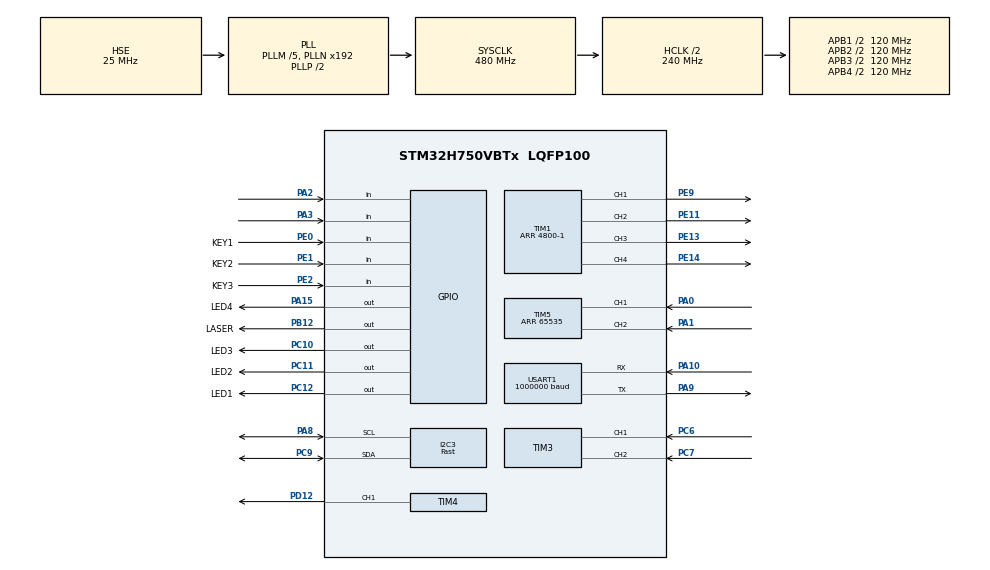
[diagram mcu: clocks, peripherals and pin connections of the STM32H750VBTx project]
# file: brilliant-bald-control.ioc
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Dma.Request0=TIM4_CH1
Dma.TIM4_CH1.0.Direction=DMA_MEMORY_TO_PERIPH
Dma.TIM4_CH1.0.EventEnable=DISABLE
Dma.TIM4_CH1.0.FIFOMode=DMA_FIFOMODE_DISABLE
Dma.TIM4_CH1.0.Instance=DMA1_Stream0
Dma.TIM4_CH1.0.MemDataAlignment=DMA_MDATAALIGN_HALFWORD
Dma.TIM4_CH1.0.MemInc=DMA_MINC_ENABLE
Dma.TIM4_CH1.0.Mode=DMA_NORMAL
Dma.TIM4_CH1.0.PeriphDataAlignment=DMA_PDATAALIGN_HALFWORD
Dma.TIM4_CH1.0.PeriphInc=DMA_PINC_DISABLE
Dma.TIM4_CH1.0.Polarity=HAL_DMAMUX_REQ_GEN_RISING
Dma.TIM4_CH1.0.Priority=DMA_PRIORITY_LOW
Dma.TIM4_CH1.0.RequestNumber=1
Dma.TIM4_CH1.0.SignalID=NONE
Dma.TIM4_CH1.0.SyncEnable=DISABLE
Dma.TIM4_CH1.0.SyncPolarity=HAL_DMAMUX_SYNC_NO_EVENT
Dma.TIM4_CH1.0.SyncRequestNumber=1
Dma.TIM4_CH1.0.SyncSignalID=NONE
I2C3.I2C_Speed_Mode=I2C_Fast
I2C3.Timing=0x00B03FDB
Mcu.Family=STM32H7
Mcu.Name=STM32H750VBTx
Mcu.Package=LQFP100
NVIC.DMA1_Stream0_IRQn=true\:4\:0\:true\:false\:true\:false\:true\:true
NVIC.PriorityGroup=NVIC_PRIORITYGROUP_4
NVIC.TIM6_DAC_IRQn=true\:3\:0\:true\:false\:true\:true\:true\:true
NVIC.TIM7_IRQn=true\:2\:0\:true\:false\:true\:true\:true\:true
NVIC.TIM8_UP_TIM13_IRQn=true\:3\:0\:true\:false\:true\:true\:true\:true
NVIC.USART1_IRQn=true\:1\:0\:true\:false\:true\:true\:true\:true
PA0.Signal=S_TIM5_CH1
PA1.Signal=S_TIM5_CH2
PA10.Mode=Asynchronous
PA10.Signal=USART1_RX
PA11.Signal=USB_OTG_FS_DM
PA12.Signal=USB_OTG_FS_DP
PA13\ (JTMS/SWDIO).Signal=DEBUG_JTMS-SWDIO
PA14\ (JTCK/SWCLK).Signal=DEBUG_JTCK-SWCLK
PA15\ (JTDI).GPIO_Label=LED4
PA15\ (JTDI).Signal=GPIO_Output
PA2.Signal=GPIO_Input
PA3.Signal=GPIO_Input
PA8.Mode=I2C
PA8.Signal=I2C3_SCL
PA9.Mode=Asynchronous
PA9.Signal=USART1_TX
PB12.GPIO_Label=LASER
PB12.PinState=GPIO_PIN_SET
PB12.Signal=GPIO_Output
PC10.GPIO_Label=LED3
PC10.Signal=GPIO_Output
PC11.GPIO_Label=LED2
PC11.Signal=GPIO_Output
PC12.GPIO_Label=LED1
PC12.Signal=GPIO_Output
PC6.Signal=S_TIM3_CH1
PC7.Signal=S_TIM3_CH2
PC9.Mode=I2C
PC9.Signal=I2C3_SDA
PD12.Signal=S_TIM4_CH1
PE0.GPIO_Label=KEY1
PE0.Signal=GPIO_Input
PE1.GPIO_Label=KEY2
PE1.Signal=GPIO_Input
PE11.Signal=S_TIM1_CH2
PE13.Signal=S_TIM1_CH3
PE14.Signal=S_TIM1_CH4
PE2.GPIO_Label=KEY3
PE2.Signal=GPIO_Input
PE9.Signal=S_TIM1_CH1
PH0-OSC_IN\ (PH0).Mode=HSE-External-Oscillator
PH0-OSC_IN\ (PH0).Signal=RCC_OSC_IN
PH1-OSC_OUT\ (PH1).Mode=HSE-External-Oscillator
PH1-OSC_OUT\ (PH1).Signal=RCC_OSC_OUT
ProjectManager.HeapSize=0x200
ProjectManager.StackSize=0x400
ProjectManager.TargetToolchain=STM32CubeIDE
RCC.ADCFreq_Value=1280000
RCC.APB1Freq_Value=120000000
RCC.APB2Freq_Value=120000000
RCC.APB3Freq_Value=120000000
RCC.APB4Freq_Value=120000000
RCC.CKPERSourceSelection=RCC_CLKPSOURCE_HSE
RCC.CortexFreq_Value=480000000
RCC.D1PPRE=RCC_APB3_DIV2
RCC.D2PPRE1=RCC_APB1_DIV2
RCC.D2PPRE2=RCC_APB2_DIV2
RCC.D3PPRE=RCC_APB4_DIV2
RCC.DIVM1=5
RCC.DIVM2=25
RCC.DIVM3=25
RCC.DIVN1=192
RCC.DIVN2=160
RCC.DIVN3=160
RCC.DIVP2=125
RCC.DIVQ1=20
RCC.HCLKFreq_Value=240000000
RCC.HPRE=RCC_HCLK_DIV2
RCC.LPTIM1CLockSelection=RCC_LPTIM1CLKSOURCE_PLL2
RCC.PLLSourceVirtual=RCC_PLLSOURCE_HSE
RCC.PWR_Regulator_Voltage_Scale=PWR_REGULATOR_VOLTAGE_SCALE0
RCC.SYSCLKFreq_VALUE=480000000
RCC.SYSCLKSource=RCC_SYSCLKSOURCE_PLLCLK
RCC.USBFreq_Value=48000000
SH.S_TIM1_CH1.0=TIM1_CH1,PWM Generation1 CH1
SH.S_TIM1_CH2.0=TIM1_CH2,PWM Generation2 CH2
SH.S_TIM1_CH3.0=TIM1_CH3,PWM Generation3 CH3
SH.S_TIM1_CH4.0=TIM1_CH4,PWM Generation4 CH4
SH.S_TIM3_CH1.0=TIM3_CH1,Encoder_Interface
SH.S_TIM3_CH2.0=TIM3_CH2,Encoder_Interface
SH.S_TIM4_CH1.0=TIM4_CH1,PWM Generation1 CH1
SH.S_TIM5_CH1.0=TIM5_CH1,Encoder_Interface
SH.S_TIM5_CH2.0=TIM5_CH2,Encoder_Interface
TIM1.AutoReloadPreload=TIM_AUTORELOAD_PRELOAD_ENABLE
TIM1.Channel-PWM\ Generation1\ CH1=TIM_CHANNEL_1
TIM1.Channel-PWM\ Generation2\ CH2=TIM_CHANNEL_2
TIM1.Channel-PWM\ Generation3\ CH3=TIM_CHANNEL_3
TIM1.Channel-PWM\ Generation4\ CH4=TIM_CHANNEL_4
TIM1.OCMode_PWM-PWM\ Generation1\ CH1=TIM_OCMODE_PWM2
TIM1.OCMode_PWM-PWM\ Generation2\ CH2=TIM_OCMODE_PWM2
TIM1.OCMode_PWM-PWM\ Generation3\ CH3=TIM_OCMODE_PWM2
TIM1.OCMode_PWM-PWM\ Generation4\ CH4=TIM_OCMODE_PWM2
TIM1.Period=4800-1
TIM1.Pulse-PWM\ Generation1\ CH1=0
TIM1.Pulse-PWM\ Generation2\ CH2=0
TIM1.Pulse-PWM\ Generation3\ CH3=0
TIM1.Pulse-PWM\ Generation4\ CH4=0
TIM13.Period=5000-1
TIM13.Prescaler=240-1
TIM3.EncoderMode=TIM_ENCODERMODE_TI12
TIM3.IC1Filter=4
TIM3.IC2Filter=4
TIM3.IC2Polarity=TIM_ICPOLARITY_FALLING
TIM4.AutoReloadPreload=TIM_AUTORELOAD_PRELOAD_ENABLE
TIM4.Channel-PWM\ Generation1\ CH1=TIM_CHANNEL_1
TIM4.Period=150-1
TIM4.Prescaler=2-1
TIM5.EncoderMode=TIM_ENCODERMODE_TI12
TIM5.IC1Filter=4
TIM5.IC2Filter=4
TIM5.Period=65535
TIM6.Period=10000-1
TIM6.Prescaler=24000-1
TIM6.TIM_MasterOutputTrigger=TIM_TRGO_UPDATE
TIM7.AutoReloadPreload=TIM_AUTORELOAD_PRELOAD_DISABLE
TIM7.Period=48000-1
USART1.BaudRate=1000000
USART1.FIFOMode=FIFOMODE_DISABLE
USART1.VirtualMode-Asynchronous=VM_ASYNC
VP_TIM13_VS_ClockSourceINT.Mode=Enable_Timer
VP_TIM6_VS_ClockSourceINT.Mode=Enable_Timer
VP_TIM7_VS_ClockSourceINT.Mode=Enable_Timer
board=custom

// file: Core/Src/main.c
/* USER CODE BEGIN Header */
/**
 ******************************************************************************
 * @file           : main.c
 * @brief          : Main program body
 ******************************************************************************
 * @attention
 *
 * Copyright (c) 2024 Charles Surianto.
 * All rights reserved.
 *
 ******************************************************************************
 */
/* USER CODE END Header */
#include "main.h"

/* USER CODE BEGIN Includes */
#include <stdlib.h>
#include <stdint.h>
#include <string.h>
#include <stdio.h>
#include <math.h>
/* USER CODE END Includes */

I2C_HandleTypeDef hi2c3;

TIM_HandleTypeDef htim1;
TIM_HandleTypeDef htim3;
TIM_HandleTypeDef htim4;
TIM_HandleTypeDef htim5;
TIM_HandleTypeDef htim6;
TIM_HandleTypeDef htim7;
TIM_HandleTypeDef htim13;
DMA_HandleTypeDef hdma_tim4_ch1;

UART_HandleTypeDef huart1;

/* USER CODE BEGIN PV */
uint16_t WsBuffer[48];
UARTStruct Uart1;
FSMStateTypeDef FSMState = SERIAL;
bool FSMIsParsing = FALSE;
bool CommandReady = FALSE;
bool TimedOut = FALSE;
bool ControlOn = FALSE;
LaserPosStruct LaserPos = {0};
double Kp;
double Kd;
double ErrorThreshold;
uint16_t HomingSpeed;
uint16_t MoveTimeoutPeriod;
uint16_t LogTime;
MotorStruct MotorX = {0};
MotorStruct MotorY = {0};

const uint8_t COS256[256] = {
    255, 255, 255, 255, 254, 254, 254, 253, 253, 252, 251, 250, 249, 249, 248, 246,
    245, 244, 243, 241, 240, 238, 237, 235, 233, 232, 230, 228, 226, 224, 222, 220,
    218, 215, 213, 211, 208, 206, 203, 201, 198, 195, 193, 190, 187, 185, 182, 179,
    176, 173, 170, 167, 164, 161, 158, 155, 152, 149, 146, 143, 140, 136, 133, 130,
    127, 124, 121, 118, 114, 111, 108, 105, 102, 99, 96, 93, 90, 87, 84, 81,
    78, 75, 72, 69, 67, 64, 61, 59, 56, 53, 51, 48, 46, 43, 41, 39,
    36, 34, 32, 30, 28, 26, 24, 22, 21, 19, 17, 16, 14, 13, 11, 10,
    9, 8, 6, 5, 5, 4, 3, 2, 1, 1, 0, 0, 0, 0, 0, 0,
    0, 0, 0, 0, 0, 0, 0, 1, 1, 2, 3, 4, 5, 5, 6, 8,
    9, 10, 11, 13, 14, 16, 17, 19, 21, 22, 24, 26, 28, 30, 32, 34,
    36, 39, 41, 43, 46, 48, 51, 53, 56, 59, 61, 64, 67, 69, 72, 75,
    78, 81, 84, 87, 90, 93, 96, 99, 102, 105, 108, 111, 114, 118, 121, 124,
    127, 130, 133, 136, 140, 143, 146, 149, 152, 155, 158, 161, 164, 167, 170, 173,
    176, 179, 182, 185, 187, 190, 193, 195, 198, 201, 203, 206, 208, 211, 213, 215,
    218, 220, 222, 224, 226, 228, 230, 232, 233, 235, 237, 238, 240, 241, 243, 244,
    245, 246, 248, 249, 249, 250, 251, 252, 253, 253, 254, 254, 254, 255, 255, 255};
/* USER CODE END PV */

void SystemClock_Config(void);
static void MX_GPIO_Init(void);
static void MX_DMA_Init(void);
static void MX_TIM1_Init(void);
static void MX_TIM3_Init(void);
static void MX_TIM4_Init(void);
static void MX_TIM5_Init(void);
static void MX_USART1_UART_Init(void);
static void MX_I2C3_Init(void);
static void MX_TIM7_Init(void);
static void MX_TIM6_Init(void);
static void MX_TIM13_Init(void);
/* USER CODE BEGIN PFP */
void ParseCommand(void);
bool StringStartsWith(const char *str, const char *prefix);
void WsSet(uint8_t index, uint8_t r, uint8_t g, uint8_t b);
void WsSetAll(uint8_t r, uint8_t g, uint8_t b);
void EEPROMRead(uint8_t regAddr, uint8_t *pData, uint8_t size);
void EEPROMWrite(uint8_t regAddr, uint8_t *pData, uint8_t size);
void ParamsRead(void);
void ParamsWrite(void);
void MotorSetSpeed(AxisTypeDef axis, int32_t speed);
bool Home(void);
void Step(void);
void LaserTurn(LaserStateTypeDef state);
void SetPos(double x, double y);
void LineTo(double x, double y, uint16_t steps);
void StartTimeout(uint16_t period);
/* USER CODE END PFP */

int main(void)
{

    /* MCU Configuration--------------------------------------------------------*/

    /* Reset of all peripherals, Initializes the Flash interface and the Systick. */
    HAL_Init();

    /* Configure the system clock */
    SystemClock_Config();

    /* Initialize all configured peripherals */
    MX_GPIO_Init();
    MX_DMA_Init();
    MX_TIM1_Init();
    MX_TIM3_Init();
    MX_TIM4_Init();
    MX_TIM5_Init();
    MX_USART1_UART_Init();
    MX_I2C3_Init();
    MX_TIM7_Init();
    MX_TIM6_Init();
    MX_TIM13_Init();
    /* USER CODE BEGIN 2 */
    HAL_TIM_Encoder_Start(&HTIM_ENCX, TIM_CHANNEL_ALL);
    HAL_TIM_Encoder_Start(&HTIM_ENCY, TIM_CHANNEL_ALL);

    HAL_TIM_Base_Start_IT(&HTIM_CTRL);

    HAL_TIM_PWM_Start(&HTIM_MOT, TIM_CHANNEL_MOT_XA);
    HAL_TIM_PWM_Start(&HTIM_MOT, TIM_CHANNEL_MOT_XB);
    HAL_TIM_PWM_Start(&HTIM_MOT, TIM_CHANNEL_MOT_YA);
    HAL_TIM_PWM_Start(&HTIM_MOT, TIM_CHANNEL_MOT_YB);

    HAL_UART_Receive_IT(&huart1, &Uart1.rxByte, 1);

    ParamsRead();

    {
        uint8_t configByte;
        EEPROMRead(CONFIG_BYTE_ADDR, &configByte, 1);

        if (configByte || HAL_GPIO_ReadPin(KEY1_GPIO_Port, KEY1_Pin) == GPIO_PIN_SET)
        {
            FSMState = TEST;
        }
        else
        {
            Home();
        }
    }

    /* USER CODE END 2 */

    /* Infinite loop */
    /* USER CODE BEGIN WHILE */
    while (1)
    {
        if (FSMState == TEST)
        {
            SerialPrint("test mode\n");

            do
            {
                ParseCommand();
            } while (FSMState == TEST);
        }

        if (FSMState == SERIAL)
        {
            SerialPrint("serial mode\n");

            do
            {
                ParseCommand();
            } while (FSMState == SERIAL);
        }

        if (FSMState == MEMORY_SQUARE)
        {
            SerialPrint("square mode\n");

            do
            {
                LineTo(-1.0, 1.0, 1);
                LineTo(1.0, 1.0, 1);
                LineTo(1.0, -1.0, 1);
                LineTo(-1.0, -1.0, 1);

                ParseCommand();
            } while (FSMState == MEMORY_SQUARE);
        }

        if (FSMState == MEMORY_TRIANGLE)
        {
            SerialPrint("triangle mode\n");

            do
            {
                LineTo(0.0, 1.0, 3);
                LineTo(1, -1, 3);
                LineTo(-1, -1, 3);

                ParseCommand();
            } while (FSMState == MEMORY_TRIANGLE);
        }

        if (FSMState == MEMORY_CIRCLE)
        {
            SerialPrint("circle mode\n");

            do
            {
                int i;
                for (i = 0; i < 90; i++)
                {
                    LineTo(cos((double)i / 180.0 * M_PI) - 0.12, sin((double)i / 180.0 * M_PI) + 0.12, 1);
                }
                for (i = 90; i < 180; i++)
                {
                    LineTo(cos((double)i / 180.0 * M_PI) - 0.12, sin((double)i / 180.0 * M_PI) - 0.12, 1);
                }
                for (i = 180; i < 270; i++)
                {
                    LineTo(cos((double)i / 180.0 * M_PI) + 0.12, sin((double)i / 180.0 * M_PI) - 0.12, 1);
                }
                for (i = 270; i < 360; i++)
                {
                    LineTo(cos((double)i / 180.0 * M_PI) + 0.12, sin((double)i / 180.0 * M_PI) + 0.12, 1);
                }

                ParseCommand();
            } while (FSMState == MEMORY_CIRCLE);
        }

        if (FSMState == MEMORY_STAR)
        {
            SerialPrint("star mode\n");

            do
            {
                LineTo(0.0, 1.0, 3);
                LineTo(1.0, -1.0, 3);
                LineTo(-1.0, 0.3, 3);
                LineTo(1.0, 0.3, 3);
                LineTo(-1.0, -1.0, 3);

                ParseCommand();
            } while (FSMState == MEMORY_STAR);
        }

        if (FSMState == MEMORY_PP)
        {
            SerialPrint("pp mode\n");

            do
            {
                LineTo(1.0, 0.5, 1);
                LineTo(1.0, -0.5, 1);
                LineTo(0.0, -0.5, 1);
                LineTo(0.0, -1.0, 1);
                LineTo(-0.5, -1.0, 1);
                LineTo(-0.5, 0.0, 1);
                LineTo(-0.5, -1.0, 1);
                LineTo(-1.0, -1.0, 1);
                LineTo(-1.0, 0.5, 1);

                ParseCommand();
            } while (FSMState == MEMORY_PP);
        }

        if (FSMState == RB)
        {
            do
            {
                for (int j = 0; j < 2; j++)
                {
                    WsSetAll(0, 0, 0);
                    for (int i = 0; i < 2; i++)
                    {
                        WsSet(j, 0, 0, 0);
                        WsShow();
                        HAL_Delay(50);
                        WsSet(j, 30, 0, 0);
                        WsShow();
                        HAL_Delay(50);
                    }
                    HAL_Delay(100);
                    WsSetAll(0, 0, 0);
                    for (int i = 0; i < 2; i++)
                    {
                        WsSet(j, 0, 0, 0);
                        WsShow();
                        HAL_Delay(50);
                        WsSet(j, 0, 0, 30);
                        WsShow();
                        HAL_Delay(50);
                    }
                    HAL_Delay(100);
                }
                ParseCommand();
            } while (FSMState == RB);

            WsSetAll(0, 0, 0);
            WsShow();
        }

        if (FSMState == RGB)
        {
            do
            {
                for (int i = 0; i < 256; i++)
                {
                    WsSetAll(COS256[(uint8_t)i] >> 4, COS256[(uint8_t)(i - 256 / 3)] >> 4, COS256[(uint8_t)(i - 256 * 2 / 3)] >> 4);
                    WsShow();
                    HAL_Delay(10);
                }
                ParseCommand();
            } while (FSMState == RGB);

            WsSetAll(0, 0, 0);
            WsShow();
        }
        /* USER CODE END WHILE */

    }
}

void SystemClock_Config(void)
{
    RCC_OscInitTypeDef RCC_OscInitStruct = {0};
    RCC_ClkInitTypeDef RCC_ClkInitStruct = {0};

    /** Supply configuration update enable
     */
    HAL_PWREx_ConfigSupply(PWR_LDO_SUPPLY);

    /** Configure the main internal regulator output voltage
     */
    __HAL_PWR_VOLTAGESCALING_CONFIG(PWR_REGULATOR_VOLTAGE_SCALE1);

    while (!__HAL_PWR_GET_FLAG(PWR_FLAG_VOSRDY))
    {
    }

    __HAL_RCC_SYSCFG_CLK_ENABLE();
    __HAL_PWR_VOLTAGESCALING_CONFIG(PWR_REGULATOR_VOLTAGE_SCALE0);

    while (!__HAL_PWR_GET_FLAG(PWR_FLAG_VOSRDY))
    {
    }

    /** Initializes the RCC Oscillators according to the specified parameters
     * in the RCC_OscInitTypeDef structure.
     */
    RCC_OscInitStruct.OscillatorType = RCC_OSCILLATORTYPE_HSE;
    RCC_OscInitStruct.HSEState = RCC_HSE_ON;
    RCC_OscInitStruct.PLL.PLLState = RCC_PLL_ON;
    RCC_OscInitStruct.PLL.PLLSource = RCC_PLLSOURCE_HSE;
    RCC_OscInitStruct.PLL.PLLM = 5;
    RCC_OscInitStruct.PLL.PLLN = 192;
    RCC_OscInitStruct.PLL.PLLP = 2;
    RCC_OscInitStruct.PLL.PLLQ = 20;
    RCC_OscInitStruct.PLL.PLLR = 2;
    RCC_OscInitStruct.PLL.PLLRGE = RCC_PLL1VCIRANGE_2;
    RCC_OscInitStruct.PLL.PLLVCOSEL = RCC_PLL1VCOWIDE;
    RCC_OscInitStruct.PLL.PLLFRACN = 0;
    if (HAL_RCC_OscConfig(&RCC_OscInitStruct) != HAL_OK)
    {
        Error_Handler();
    }

    /** Initializes the CPU, AHB and APB buses clocks
     */
    RCC_ClkInitStruct.ClockType = RCC_CLOCKTYPE_HCLK | RCC_CLOCKTYPE_SYSCLK | RCC_CLOCKTYPE_PCLK1 | RCC_CLOCKTYPE_PCLK2 | RCC_CLOCKTYPE_D3PCLK1 | RCC_CLOCKTYPE_D1PCLK1;
    RCC_ClkInitStruct.SYSCLKSource = RCC_SYSCLKSOURCE_PLLCLK;
    RCC_ClkInitStruct.SYSCLKDivider = RCC_SYSCLK_DIV1;
    RCC_ClkInitStruct.AHBCLKDivider = RCC_HCLK_DIV2;
    RCC_ClkInitStruct.APB3CLKDivider = RCC_APB3_DIV2;
    RCC_ClkInitStruct.APB1CLKDivider = RCC_APB1_DIV2;
    RCC_ClkInitStruct.APB2CLKDivider = RCC_APB2_DIV2;
    RCC_ClkInitStruct.APB4CLKDivider = RCC_APB4_DIV2;

    if (HAL_RCC_ClockConfig(&RCC_ClkInitStruct, FLASH_LATENCY_4) != HAL_OK)
    {
        Error_Handler();
    }
}

static void MX_I2C3_Init(void)
{

    hi2c3.Instance = I2C3;
    hi2c3.Init.Timing = 0x00B03FDB;
    hi2c3.Init.OwnAddress1 = 0;
    hi2c3.Init.AddressingMode = I2C_ADDRESSINGMODE_7BIT;
    hi2c3.Init.DualAddressMode = I2C_DUALADDRESS_DISABLE;
    hi2c3.Init.OwnAddress2 = 0;
    hi2c3.Init.OwnAddress2Masks = I2C_OA2_NOMASK;
    hi2c3.Init.GeneralCallMode = I2C_GENERALCALL_DISABLE;
    hi2c3.Init.NoStretchMode = I2C_NOSTRETCH_DISABLE;
    if (HAL_I2C_Init(&hi2c3) != HAL_OK)
    {
        Error_Handler();
    }

    /** Configure Analogue filter
     */
    if (HAL_I2CEx_ConfigAnalogFilter(&hi2c3, I2C_ANALOGFILTER_ENABLE) != HAL_OK)
    {
        Error_Handler();
    }

    /** Configure Digital filter
     */
    if (HAL_I2CEx_ConfigDigitalFilter(&hi2c3, 0) != HAL_OK)
    {
        Error_Handler();
    }
}

static void MX_TIM1_Init(void)
{

    TIM_MasterConfigTypeDef sMasterConfig = {0};
    TIM_OC_InitTypeDef sConfigOC = {0};
    TIM_BreakDeadTimeConfigTypeDef sBreakDeadTimeConfig = {0};

    htim1.Instance = TIM1;
    htim1.Init.Prescaler = 0;
    htim1.Init.CounterMode = TIM_COUNTERMODE_UP;
    htim1.Init.Period = 4800 - 1;
    htim1.Init.ClockDivision = TIM_CLOCKDIVISION_DIV1;
    htim1.Init.RepetitionCounter = 0;
    htim1.Init.AutoReloadPreload = TIM_AUTORELOAD_PRELOAD_ENABLE;
    if (HAL_TIM_PWM_Init(&htim1) != HAL_OK)
    {
        Error_Handler();
    }
    sMasterConfig.MasterOutputTrigger = TIM_TRGO_RESET;
    sMasterConfig.MasterOutputTrigger2 = TIM_TRGO2_RESET;
    sMasterConfig.MasterSlaveMode = TIM_MASTERSLAVEMODE_DISABLE;
    if (HAL_TIMEx_MasterConfigSynchronization(&htim1, &sMasterConfig) != HAL_OK)
    {
        Error_Handler();
    }
    sConfigOC.OCMode = TIM_OCMODE_PWM2;
    sConfigOC.Pulse = 0;
    sConfigOC.OCPolarity = TIM_OCPOLARITY_HIGH;
    sConfigOC.OCNPolarity = TIM_OCNPOLARITY_HIGH;
    sConfigOC.OCFastMode = TIM_OCFAST_DISABLE;
    sConfigOC.OCIdleState = TIM_OCIDLESTATE_RESET;
    sConfigOC.OCNIdleState = TIM_OCNIDLESTATE_RESET;
    if (HAL_TIM_PWM_ConfigChannel(&htim1, &sConfigOC, TIM_CHANNEL_1) != HAL_OK)
    {
        Error_Handler();
    }
    if (HAL_TIM_PWM_ConfigChannel(&htim1, &sConfigOC, TIM_CHANNEL_2) != HAL_OK)
    {
        Error_Handler();
    }
    if (HAL_TIM_PWM_ConfigChannel(&htim1, &sConfigOC, TIM_CHANNEL_3) != HAL_OK)
    {
        Error_Handler();
    }
    if (HAL_TIM_PWM_ConfigChannel(&htim1, &sConfigOC, TIM_CHANNEL_4) != HAL_OK)
    {
        Error_Handler();
    }
    sBreakDeadTimeConfig.OffStateRunMode = TIM_OSSR_DISABLE;
    sBreakDeadTimeConfig.OffStateIDLEMode = TIM_OSSI_DISABLE;
    sBreakDeadTimeConfig.LockLevel = TIM_LOCKLEVEL_OFF;
    sBreakDeadTimeConfig.DeadTime = 0;
    sBreakDeadTimeConfig.BreakState = TIM_BREAK_DISABLE;
    sBreakDeadTimeConfig.BreakPolarity = TIM_BREAKPOLARITY_HIGH;
    sBreakDeadTimeConfig.BreakFilter = 0;
    sBreakDeadTimeConfig.Break2State = TIM_BREAK2_DISABLE;
    sBreakDeadTimeConfig.Break2Polarity = TIM_BREAK2POLARITY_HIGH;
    sBreakDeadTimeConfig.Break2Filter = 0;
    sBreakDeadTimeConfig.AutomaticOutput = TIM_AUTOMATICOUTPUT_DISABLE;
    if (HAL_TIMEx_ConfigBreakDeadTime(&htim1, &sBreakDeadTimeConfig) != HAL_OK)
    {
        Error_Handler();
    }
    HAL_TIM_MspPostInit(&htim1);
}

static void MX_TIM3_Init(void)
{

    TIM_Encoder_InitTypeDef sConfig = {0};
    TIM_MasterConfigTypeDef sMasterConfig = {0};

    htim3.Instance = TIM3;
    htim3.Init.Prescaler = 0;
    htim3.Init.CounterMode = TIM_COUNTERMODE_UP;
    htim3.Init.Period = 65535;
    htim3.Init.ClockDivision = TIM_CLOCKDIVISION_DIV1;
    htim3.Init.AutoReloadPreload = TIM_AUTORELOAD_PRELOAD_DISABLE;
    sConfig.EncoderMode = TIM_ENCODERMODE_TI12;
    sConfig.IC1Polarity = TIM_ICPOLARITY_RISING;
    sConfig.IC1Selection = TIM_ICSELECTION_DIRECTTI;
    sConfig.IC1Prescaler = TIM_ICPSC_DIV1;
    sConfig.IC1Filter = 4;
    sConfig.IC2Polarity = TIM_ICPOLARITY_FALLING;
    sConfig.IC2Selection = TIM_ICSELECTION_DIRECTTI;
    sConfig.IC2Prescaler = TIM_ICPSC_DIV1;
    sConfig.IC2Filter = 4;
    if (HAL_TIM_Encoder_Init(&htim3, &sConfig) != HAL_OK)
    {
        Error_Handler();
    }
    sMasterConfig.MasterOutputTrigger = TIM_TRGO_RESET;
    sMasterConfig.MasterSlaveMode = TIM_MASTERSLAVEMODE_DISABLE;
    if (HAL_TIMEx_MasterConfigSynchronization(&htim3, &sMasterConfig) != HAL_OK)
    {
        Error_Handler();
    }
}

static void MX_TIM4_Init(void)
{

    TIM_MasterConfigTypeDef sMasterConfig = {0};
    TIM_OC_InitTypeDef sConfigOC = {0};

    htim4.Instance = TIM4;
    htim4.Init.Prescaler = 2 - 1;
    htim4.Init.CounterMode = TIM_COUNTERMODE_UP;
    htim4.Init.Period = 150 - 1;
    htim4.Init.ClockDivision = TIM_CLOCKDIVISION_DIV1;
    htim4.Init.AutoReloadPreload = TIM_AUTORELOAD_PRELOAD_ENABLE;
    if (HAL_TIM_PWM_Init(&htim4) != HAL_OK)
    {
        Error_Handler();
    }
    sMasterConfig.MasterOutputTrigger = TIM_TRGO_RESET;
    sMasterConfig.MasterSlaveMode = TIM_MASTERSLAVEMODE_DISABLE;
    if (HAL_TIMEx_MasterConfigSynchronization(&htim4, &sMasterConfig) != HAL_OK)
    {
        Error_Handler();
    }
    sConfigOC.OCMode = TIM_OCMODE_PWM1;
    sConfigOC.Pulse = 0;
    sConfigOC.OCPolarity = TIM_OCPOLARITY_HIGH;
    sConfigOC.OCFastMode = TIM_OCFAST_DISABLE;
    if (HAL_TIM_PWM_ConfigChannel(&htim4, &sConfigOC, TIM_CHANNEL_1) != HAL_OK)
    {
        Error_Handler();
    }
    HAL_TIM_MspPostInit(&htim4);
}

static void MX_TIM5_Init(void)
{

    TIM_Encoder_InitTypeDef sConfig = {0};
    TIM_MasterConfigTypeDef sMasterConfig = {0};

    htim5.Instance = TIM5;
    htim5.Init.Prescaler = 0;
    htim5.Init.CounterMode = TIM_COUNTERMODE_UP;
    htim5.Init.Period = 65535;
    htim5.Init.ClockDivision = TIM_CLOCKDIVISION_DIV1;
    htim5.Init.AutoReloadPreload = TIM_AUTORELOAD_PRELOAD_DISABLE;
    sConfig.EncoderMode = TIM_ENCODERMODE_TI12;
    sConfig.IC1Polarity = TIM_ICPOLARITY_RISING;
    sConfig.IC1Selection = TIM_ICSELECTION_DIRECTTI;
    sConfig.IC1Prescaler = TIM_ICPSC_DIV1;
    sConfig.IC1Filter = 4;
    sConfig.IC2Polarity = TIM_ICPOLARITY_RISING;
    sConfig.IC2Selection = TIM_ICSELECTION_DIRECTTI;
    sConfig.IC2Prescaler = TIM_ICPSC_DIV1;
    sConfig.IC2Filter = 4;
    if (HAL_TIM_Encoder_Init(&htim5, &sConfig) != HAL_OK)
    {
        Error_Handler();
    }
    sMasterConfig.MasterOutputTrigger = TIM_TRGO_RESET;
    sMasterConfig.MasterSlaveMode = TIM_MASTERSLAVEMODE_DISABLE;
    if (HAL_TIMEx_MasterConfigSynchronization(&htim5, &sMasterConfig) != HAL_OK)
    {
        Error_Handler();
    }
}

static void MX_TIM6_Init(void)
{

    TIM_MasterConfigTypeDef sMasterConfig = {0};

    htim6.Instance = TIM6;
    htim6.Init.Prescaler = 24000 - 1;
    htim6.Init.CounterMode = TIM_COUNTERMODE_UP;
    htim6.Init.Period = 10000 - 1;
    htim6.Init.AutoReloadPreload = TIM_AUTORELOAD_PRELOAD_DISABLE;
    if (HAL_TIM_Base_Init(&htim6) != HAL_OK)
    {
        Error_Handler();
    }
    sMasterConfig.MasterOutputTrigger = TIM_TRGO_UPDATE;
    sMasterConfig.MasterSlaveMode = TIM_MASTERSLAVEMODE_DISABLE;
    if (HAL_TIMEx_MasterConfigSynchronization(&htim6, &sMasterConfig) != HAL_OK)
    {
        Error_Handler();
    }
}

static void MX_TIM7_Init(void)
{

    TIM_MasterConfigTypeDef sMasterConfig = {0};

    htim7.Instance = TIM7;
    htim7.Init.Prescaler = 0;
    htim7.Init.CounterMode = TIM_COUNTERMODE_UP;
    htim7.Init.Period = 48000 - 1;
    htim7.Init.AutoReloadPreload = TIM_AUTORELOAD_PRELOAD_DISABLE;
    if (HAL_TIM_Base_Init(&htim7) != HAL_OK)
    {
        Error_Handler();
    }
    sMasterConfig.MasterOutputTrigger = TIM_TRGO_RESET;
    sMasterConfig.MasterSlaveMode = TIM_MASTERSLAVEMODE_DISABLE;
    if (HAL_TIMEx_MasterConfigSynchronization(&htim7, &sMasterConfig) != HAL_OK)
    {
        Error_Handler();
    }
}

static void MX_TIM13_Init(void)
{

    htim13.Instance = TIM13;
    htim13.Init.Prescaler = 240 - 1;
    htim13.Init.CounterMode = TIM_COUNTERMODE_UP;
    htim13.Init.Period = 5000 - 1;
    htim13.Init.ClockDivision = TIM_CLOCKDIVISION_DIV1;
    htim13.Init.AutoReloadPreload = TIM_AUTORELOAD_PRELOAD_DISABLE;
    if (HAL_TIM_Base_Init(&htim13) != HAL_OK)
    {
        Error_Handler();
    }
}

static void MX_USART1_UART_Init(void)
{

    huart1.Instance = USART1;
    huart1.Init.BaudRate = 1000000;
    huart1.Init.WordLength = UART_WORDLENGTH_8B;
    huart1.Init.StopBits = UART_STOPBITS_1;
    huart1.Init.Parity = UART_PARITY_NONE;
    huart1.Init.Mode = UART_MODE_TX_RX;
    huart1.Init.HwFlowCtl = UART_HWCONTROL_NONE;
    huart1.Init.OverSampling = UART_OVERSAMPLING_16;
    huart1.Init.OneBitSampling = UART_ONE_BIT_SAMPLE_DISABLE;
    huart1.Init.ClockPrescaler = UART_PRESCALER_DIV1;
    huart1.AdvancedInit.AdvFeatureInit = UART_ADVFEATURE_NO_INIT;
    if (HAL_UART_Init(&huart1) != HAL_OK)
    {
        Error_Handler();
    }
    if (HAL_UARTEx_SetTxFifoThreshold(&huart1, UART_TXFIFO_THRESHOLD_1_8) != HAL_OK)
    {
        Error_Handler();
    }
    if (HAL_UARTEx_SetRxFifoThreshold(&huart1, UART_RXFIFO_THRESHOLD_1_8) != HAL_OK)
    {
        Error_Handler();
    }
    if (HAL_UARTEx_DisableFifoMode(&huart1) != HAL_OK)
    {
        Error_Handler();
    }
}

static void MX_DMA_Init(void)
{

    /* DMA controller clock enable */
    __HAL_RCC_DMA1_CLK_ENABLE();

    /* DMA interrupt init */
    /* DMA1_Stream0_IRQn interrupt configuration */
    HAL_NVIC_SetPriority(DMA1_Stream0_IRQn, 4, 0);
    HAL_NVIC_EnableIRQ(DMA1_Stream0_IRQn);
}

static void MX_GPIO_Init(void)
{
    GPIO_InitTypeDef GPIO_InitStruct = {0};

    /* GPIO Ports Clock Enable */
    __HAL_RCC_GPIOE_CLK_ENABLE();
    __HAL_RCC_GPIOH_CLK_ENABLE();
    __HAL_RCC_GPIOA_CLK_ENABLE();
    __HAL_RCC_GPIOB_CLK_ENABLE();
    __HAL_RCC_GPIOD_CLK_ENABLE();
    __HAL_RCC_GPIOC_CLK_ENABLE();

    /*Configure GPIO pin Output Level */
    HAL_GPIO_WritePin(LASER_GPIO_Port, LASER_Pin, GPIO_PIN_SET);

    /*Configure GPIO pin Output Level */
    HAL_GPIO_WritePin(LED4_GPIO_Port, LED4_Pin, GPIO_PIN_RESET);

    /*Configure GPIO pin Output Level */
    HAL_GPIO_WritePin(GPIOC, LED3_Pin | LED2_Pin | LED1_Pin, GPIO_PIN_RESET);

    /*Configure GPIO pins : KEY3_Pin KEY1_Pin KEY2_Pin */
    GPIO_InitStruct.Pin = KEY3_Pin | KEY1_Pin | KEY2_Pin;
    GPIO_InitStruct.Mode = GPIO_MODE_INPUT;
    GPIO_InitStruct.Pull = GPIO_NOPULL;
    HAL_GPIO_Init(GPIOE, &GPIO_InitStruct);

    /*Configure GPIO pins : PA2 PA3 */
    GPIO_InitStruct.Pin = GPIO_PIN_2 | GPIO_PIN_3;
    GPIO_InitStruct.Mode = GPIO_MODE_INPUT;
    GPIO_InitStruct.Pull = GPIO_NOPULL;
    HAL_GPIO_Init(GPIOA, &GPIO_InitStruct);

    /*Configure GPIO pin : LASER_Pin */
    GPIO_InitStruct.Pin = LASER_Pin;
    GPIO_InitStruct.Mode = GPIO_MODE_OUTPUT_PP;
    GPIO_InitStruct.Pull = GPIO_NOPULL;
    GPIO_InitStruct.Speed = GPIO_SPEED_FREQ_LOW;
    HAL_GPIO_Init(LASER_GPIO_Port, &GPIO_InitStruct);

    /*Configure GPIO pins : PA11 PA12 */
    GPIO_InitStruct.Pin = GPIO_PIN_11 | GPIO_PIN_12;
    GPIO_InitStruct.Mode = GPIO_MODE_AF_PP;
    GPIO_InitStruct.Pull = GPIO_NOPULL;
    GPIO_InitStruct.Speed = GPIO_SPEED_FREQ_LOW;
    GPIO_InitStruct.Alternate = GPIO_AF10_OTG1_FS;
    HAL_GPIO_Init(GPIOA, &GPIO_InitStruct);

    /*Configure GPIO pin : LED4_Pin */
    GPIO_InitStruct.Pin = LED4_Pin;
    GPIO_InitStruct.Mode = GPIO_MODE_OUTPUT_PP;
    GPIO_InitStruct.Pull = GPIO_NOPULL;
    GPIO_InitStruct.Speed = GPIO_SPEED_FREQ_LOW;
    HAL_GPIO_Init(LED4_GPIO_Port, &GPIO_InitStruct);

    /*Configure GPIO pins : LED3_Pin LED2_Pin LED1_Pin */
    GPIO_InitStruct.Pin = LED3_Pin | LED2_Pin | LED1_Pin;
    GPIO_InitStruct.Mode = GPIO_MODE_OUTPUT_PP;
    GPIO_InitStruct.Pull = GPIO_NOPULL;
    GPIO_InitStruct.Speed = GPIO_SPEED_FREQ_LOW;
    HAL_GPIO_Init(GPIOC, &GPIO_InitStruct);

}

/* USER CODE BEGIN 4 */

void HAL_TIM_PeriodElapsedCallback(TIM_HandleTypeDef *htim)
{
    if (htim == &HTIM_CTRL)
    {
        // HAL_GPIO_WritePin(LED4_GPIO_Port, LED4_Pin, GPIO_PIN_SET);

        int32_t posDelta;

        int32_t xEncoder = (int16_t)__HAL_TIM_GET_COUNTER(&HTIM_ENCX);
        int32_t yEncoder = (int16_t)__HAL_TIM_GET_COUNTER(&HTIM_ENCY);

        posDelta = xEncoder - MotorX.lastPosition;
        if (posDelta > 0x7fff)
        {
            MotorX.positionBias -= 0x10000;
        }
        else if (posDelta < -0x7fff)
        {
            MotorX.positionBias += 0x10000;
        }
        MotorX.position = xEncoder + MotorX.positionBias;
        MotorX.lastPosition = xEncoder;

        posDelta = yEncoder - MotorY.lastPosition;
        if (posDelta > 0x7fff)
        {
            MotorY.positionBias -= 0x10000;
        }
        else if (posDelta < -0x7fff)
        {
            MotorY.positionBias += 0x10000;
        }
        MotorY.position = yEncoder + MotorY.positionBias;
        MotorY.lastPosition = yEncoder;

        // control loop

        if (ControlOn)
        {
            MotorX.error = MotorX.target - MotorX.position;
            MotorY.error = MotorY.target - MotorY.position;

            int32_t speedX = MotorX.error * Kp + (MotorX.error - MotorX.lastError) * 5000.0 * Kd;
            int32_t speedY = MotorY.error * Kp + (MotorY.error - MotorY.lastError) * 5000.0 * Kd;

            if (speedX > 4800)
            {
                speedX = 4800;
            }
            if (speedX < -4800)
            {
                speedX = -4800;
            }

            if (speedY > 4800)
            {
                speedY = 4800;
            }
            if (speedY < -4800)
            {
                speedY = -4800;
            }

            MotorSetSpeed(X, speedX);
            MotorSetSpeed(Y, speedY);

            MotorX.lastError = MotorX.error;
            MotorY.lastError = MotorY.error;
        }

        // HAL_GPIO_WritePin(LED4_GPIO_Port, LED4_Pin, GPIO_PIN_RESET);
    }

    if (htim == &HTIM_TIMEOUT)
    {
        TimedOut = TRUE;
        HAL_TIM_Base_Stop_IT(&HTIM_TIMEOUT);
    }

    if (htim == &HTIM_LOG)
    {
        SerialPrint("%hu %ld %ld %ld %ld\n", LogTime, MotorX.target, MotorX.position, MotorY.target, MotorY.position);
        LogTime += 5;
    }
}

void HAL_TIM_PWM_PulseFinishedCallback(TIM_HandleTypeDef *htim)
{
    if (htim == &HTIM_WS)
    {
        __HAL_TIM_SET_COMPARE(&HTIM_WS, TIM_CHANNEL_WS, 0);
        HAL_TIM_PWM_Stop_DMA(&HTIM_WS, TIM_CHANNEL_WS);
    }
}

void HAL_UART_RxCpltCallback(UART_HandleTypeDef *huart)
{
    if (huart == &huart1)
    {
        if (HAL_UART_Receive_IT(&huart1, &Uart1.rxByte, 1) == HAL_OK)
        {
            if (!FSMIsParsing)
            {
                if (Uart1.rxByte == '\n' || Uart1.rxByte == '\r' || Uart1.rxCounter >= sizeof(Uart1.rxBuffer) - 2)
                {
                    Uart1.rxBuffer[Uart1.rxCounter] = 0;
                    Uart1.rxBuffer[Uart1.rxCounter + 1] = 0;
                    Uart1.rxCounter = 0;
                    CommandReady = TRUE;
                }
                else
                {
                    Uart1.rxBuffer[Uart1.rxCounter++] = Uart1.rxByte;
                }
            }
        }
        else
        {
            HAL_UART_AbortReceive(&huart1);
            HAL_UART_Receive_IT(&huart1, &Uart1.rxByte, 1);
        }
    }
}

void HAL_UART_TxCpltCallback(UART_HandleTypeDef *huart)
{
    if (huart == &huart1)
    {
    }
}

void ParseCommand(void)
{
    if (CommandReady)
    {
        FSMIsParsing = TRUE;
        CommandReady = FALSE;
        ParseStatusTypeDef status = OK;

        if (StringStartsWith((char *)Uart1.rxBuffer, "move"))
        {
            double x, y;
            uint16_t steps;
            if (sscanf((char *)&Uart1.rxBuffer[sizeof("move")], "%lf %lf %hu", &x, &y, &steps) == 3)
            {
                LineTo(x, y, steps);
                if (TimedOut)
                {
                    status = TIMEDOUT;
                }
            }
            else
            {
                status = INVALID_ARGUMENT;
            }
        }
        else if (StringStartsWith((char *)Uart1.rxBuffer, "laser"))
        {
            char *pBuffer = (char *)(&Uart1.rxBuffer[sizeof("laser")]);

            if (StringStartsWith(pBuffer, "on"))
            {
                LaserTurn(ON);
            }
            else if (StringStartsWith(pBuffer, "off"))
            {
                LaserTurn(OFF);
            }
            else
            {
                status = INVALID_ARGUMENT;
            }
        }
        else if (StringStartsWith((char *)Uart1.rxBuffer, "motor"))
        {
            char *pBuffer = (char *)(&Uart1.rxBuffer[sizeof("motor")]);

            if (*pBuffer == 'x')
            {
                int16_t speed;
                if (sscanf(&pBuffer[sizeof("x")], "%hd", &speed) == 1)
                {
                    MotorSetSpeed(X, speed);
                }
                else
                {
                    status = INVALID_ARGUMENT;
                }
            }
            else if (*pBuffer == 'y')
            {
                int16_t speed;
                if (sscanf(&pBuffer[sizeof("y")], "%hd", &speed) == 1)
                {
                    MotorSetSpeed(Y, speed);
                }
                else
                {
                    status = INVALID_ARGUMENT;
                }
            }
            else
            {
                status = INVALID_ARGUMENT;
            }
        }
        else if (StringStartsWith((char *)Uart1.rxBuffer, "led"))
        {
            uint16_t index, state;
            if (sscanf((char *)&Uart1.rxBuffer[sizeof("led")], "%hu %hu", &index, &state) == 2)
            {
                switch (index)
                {
                case 1:
                    HAL_GPIO_WritePin(LED1_GPIO_Port, LED1_Pin, state ? GPIO_PIN_SET : GPIO_PIN_RESET);
                    break;
                case 2:
                    HAL_GPIO_WritePin(LED2_GPIO_Port, LED2_Pin, state ? GPIO_PIN_SET : GPIO_PIN_RESET);
                    break;
                case 3:
                    HAL_GPIO_WritePin(LED3_GPIO_Port, LED3_Pin, state ? GPIO_PIN_SET : GPIO_PIN_RESET);
                    break;
                case 4:
                    HAL_GPIO_WritePin(LED4_GPIO_Port, LED4_Pin, state ? GPIO_PIN_SET : GPIO_PIN_RESET);
                    break;
                }
            }
            else
            {
                status = INVALID_ARGUMENT;
            }
        }
        else if (StringStartsWith((char *)Uart1.rxBuffer, "rgb"))
        {
            uint16_t index, r, g, b;
            if (sscanf((char *)&Uart1.rxBuffer[sizeof("rgb")], "%hu %hu %hu %hu", &index, &r, &g, &b) == 4)
            {
                WsSet(index, r, g, b);
                WsShow();
            }
            else
            {
                status = INVALID_ARGUMENT;
            }
        }
        else if (StringStartsWith((char *)Uart1.rxBuffer, "home"))
        {
            if (!Home())
            {
                status = FAULT;
            }
        }
        else if (StringStartsWith((char *)Uart1.rxBuffer, "step"))
        {
            Step();
        }
        else if (StringStartsWith((char *)Uart1.rxBuffer, "pos"))
        {
            SerialPrint("x target: %ld x: %ld\ny target: %ld y: %ld\n", MotorX.target, MotorX.position, MotorY.target, MotorY.position);
            status = SILENT;
        }
        else if (StringStartsWith((char *)Uart1.rxBuffer, "param"))
        {
            char *pBuffer = (char *)(&Uart1.rxBuffer[sizeof("param")]);

            if (StringStartsWith(pBuffer, "load"))
            {
                ParamsRead();
            }
            else if (StringStartsWith(pBuffer, "save"))
            {
                ParamsWrite();
            }
            else if (StringStartsWith(pBuffer, "kp"))
            {
                if (sscanf(&pBuffer[sizeof("kp")], "%lf", &Kp) == 1)
                {
                    SerialPrint("kp <- %lf\n", Kp);
                }
                else
                {
                    SerialPrint("kp: %lf\n", Kp);
                }
                status = SILENT;
            }
            else if (StringStartsWith(pBuffer, "kd"))
            {
                if (sscanf(&pBuffer[sizeof("kd")], "%lf", &Kd) == 1)
                {
                    SerialPrint("kd <- %lf\n", Kd);
                }
                else
                {
                    SerialPrint("kd: %lf\n", Kd);
                }
                status = SILENT;
            }
            else if (StringStartsWith(pBuffer, "offset"))
            {
                pBuffer += sizeof("offset");

                if (StringStartsWith(pBuffer, "x"))
                {
                    if (sscanf(&pBuffer[sizeof("x")], "%hd", &MotorX.homeOffset) == 1)
                    {
                        SerialPrint("offset x <- %hd\n", MotorX.homeOffset);
                    }
                    else
                    {
                        SerialPrint("offset x: %hd\n", MotorX.homeOffset);
                    }
                    status = SILENT;
                }
                else if (StringStartsWith(pBuffer, "y"))
                {
                    if (sscanf(&pBuffer[sizeof("y")], "%hd", &MotorY.homeOffset) == 1)
                    {
                        SerialPrint("offset y <- %hd\n", MotorY.homeOffset);
                    }
                    else
                    {
                        SerialPrint("offset y: %hd\n", MotorY.homeOffset);
                    }
                    status = SILENT;
                }
                else
                {
                    status = INVALID_ARGUMENT;
                }
            }
            else if (StringStartsWith(pBuffer, "homing"))
            {
                pBuffer += sizeof("homing");

                if (sscanf(pBuffer, "%hu", &HomingSpeed) == 1)
                {
                    SerialPrint("homing <- %hu\n", HomingSpeed);
                }
                else
                {
                    SerialPrint("homing: %hu\n", HomingSpeed);
                }
                status = SILENT;
            }
            else if (StringStartsWith(pBuffer, "timeout"))
            {
                pBuffer += sizeof("timeout");

                if (sscanf(pBuffer, "%hu", &MoveTimeoutPeriod) == 1)
                {
                    SerialPrint("timeout <- %hu\n", MoveTimeoutPeriod);
                }
                else
                {
                    SerialPrint("timeout: %hu\n", MoveTimeoutPeriod);
                }
                status = SILENT;
            }
            else if (StringStartsWith(pBuffer, "error"))
            {
                pBuffer += sizeof("error");

                if (sscanf(pBuffer, "%lf", &ErrorThreshold) == 1)
                {
                    SerialPrint("error <- %lf\n", ErrorThreshold);
                }
                else
                {
                    SerialPrint("error: %lf\n", ErrorThreshold);
                }
                status = SILENT;
            }
            else
            {
                SerialPrint("kp: %lf\nkd: %lf\nhoming speed: %hu\noffset x: %hd\noffset y: %hd\ntimeout: %hu\nerror threshold: %lf\n", Kp, Kd, HomingSpeed, MotorX.homeOffset, MotorY.homeOffset, MoveTimeoutPeriod, ErrorThreshold);
                status = SILENT;
            }
        }
        else if (StringStartsWith((char *)Uart1.rxBuffer, "rom"))
        {
            char *pBuffer = (char *)(&Uart1.rxBuffer[sizeof("rom")]);

            if (StringStartsWith(pBuffer, "dump"))
            {
                Uart1.txCounter = 0;
                uint8_t data[16];

                for (int i = 0; i < 16; i++)
                {
                    EEPROMRead(i * 16, data, 16);
                    Uart1.txCounter += sprintf((char *)&Uart1.txBuffer[Uart1.txCounter], "%02x:", i * 16);

                    for (int j = 0; j < 16; j++)
                    {
                        Uart1.txCounter += sprintf((char *)&Uart1.txBuffer[Uart1.txCounter], " %02x", data[j]);
                    }
                    Uart1.txCounter += sprintf((char *)&Uart1.txBuffer[Uart1.txCounter], "\n");
                }

                HAL_UART_Transmit(&huart1, Uart1.txBuffer, Uart1.txCounter, UART_TIMEOUT);
                status = SILENT;
            }
            else if (StringStartsWith(pBuffer, "write"))
            {
                int addr, wdata;
                if (sscanf(&pBuffer[sizeof("write")], "%x %x", &addr, &wdata) == 2)
                {
                    uint8_t data = (uint8_t)wdata;
                    EEPROMWrite((uint8_t)addr, &data, 1);
                }
                else
                {
                    status = INVALID_ARGUMENT;
                }
            }
            else if (StringStartsWith(pBuffer, "read"))
            {
                int addr;
                if (sscanf(&pBuffer[sizeof("read")], "%x", &addr) == 1)
                {
                    uint8_t data;
                    EEPROMRead((uint8_t)addr, &data, 1);

                    SerialPrint("%02x: %02x\n", addr, data);
                    status = SILENT;
                }
                else
                {
                    status = INVALID_ARGUMENT;
                }
            }
            else
            {
                status = INVALID_ARGUMENT;
            }
        }
        else if (StringStartsWith((char *)Uart1.rxBuffer, "mode"))
        {
            char *pBuffer = (char *)(&Uart1.rxBuffer[sizeof("mode")]);

            if (StringStartsWith(pBuffer, "test"))
            {
                FSMState = TEST;
            }
            else if (StringStartsWith(pBuffer, "serial"))
            {
                FSMState = SERIAL;
            }
            else if (StringStartsWith(pBuffer, "square"))
            {
                FSMState = MEMORY_SQUARE;
            }
            else if (StringStartsWith(pBuffer, "triangle"))
            {
                FSMState = MEMORY_TRIANGLE;
            }
            else if (StringStartsWith(pBuffer, "circle"))
            {
                FSMState = MEMORY_CIRCLE;
            }
            else if (StringStartsWith(pBuffer, "star"))
            {
                FSMState = MEMORY_STAR;
            }
            else if (StringStartsWith(pBuffer, "pp"))
            {
                FSMState = MEMORY_PP;
            }
            else if (StringStartsWith(pBuffer, "rb"))
            {
                FSMState = RB;
            }
            else if (StringStartsWith(pBuffer, "rgb"))
            {
                FSMState = RGB;
            }
            else
            {
                status = INVALID_ARGUMENT;
            }
        }
        else if (StringStartsWith((char *)Uart1.rxBuffer, "control"))
        {
            char *pBuffer = (char *)(&Uart1.rxBuffer[sizeof("control")]);

            if (StringStartsWith(pBuffer, "on"))
            {
                ControlOn = TRUE;
            }
            else if (StringStartsWith(pBuffer, "off"))
            {
                ControlOn = FALSE;
            }
            else
            {
                status = INVALID_ARGUMENT;
            }
        }
        else if (StringStartsWith((char *)Uart1.rxBuffer, "hardware reset 69420"))
        {
            NVIC_SystemReset();
        }
        else
        {
            status = INVALID_COMMAND;
        }

        switch (status)
        {
        case OK:
            SerialPrint("ok\n");
            break;
        case SILENT:
            break;
        case INVALID_COMMAND:
            SerialPrint("invalid command\n");
            break;
        case INVALID_ARGUMENT:
            SerialPrint("invalid argument\n");
            break;
        case TIMEDOUT:
            SerialPrint("timed out\n");
            break;
        case FAULT:
            SerialPrint("fault\n");
            break;
        }

        FSMIsParsing = FALSE;
    }
}

bool StringStartsWith(const char *str, const char *prefix)
{
    for (uint8_t i = 0; prefix[i] != 0; i++)
    {
        if (str[i] != prefix[i])
            return FALSE;
    }
    return TRUE;
}

void WsSet(uint8_t index, uint8_t r, uint8_t g, uint8_t b)
{
    index *= 24;
    uint8_t i = 0, mask;
    for (mask = 0x80; mask > 0; i++, mask >>= 1)
    {
        if (g & mask)
            WsBuffer[index + i] = WS2812_PULSE_1;
        else
            WsBuffer[index + i] = WS2812_PULSE_0;
    }
    for (mask = 0x80; mask > 0; i++, mask >>= 1)
    {
        if (r & mask)
            WsBuffer[index + i] = WS2812_PULSE_1;
        else
            WsBuffer[index + i] = WS2812_PULSE_0;
    }
    for (mask = 0x80; mask > 0; i++, mask >>= 1)
    {
        if (b & mask)
            WsBuffer[index + i] = WS2812_PULSE_1;
        else
            WsBuffer[index + i] = WS2812_PULSE_0;
    }
}

void WsSetAll(uint8_t r, uint8_t g, uint8_t b)
{
    WsSet(0, r, g, b);
    WsSet(1, r, g, b);
}

void EEPROMRead(uint8_t regAddr, uint8_t *pData, uint8_t size)
{
    HAL_I2C_Mem_Read(&hi2c3, EEPROM_ADDR << 1, regAddr, I2C_MEMADD_SIZE_8BIT, pData, size, 1000);
}

void EEPROMWrite(uint8_t regAddr, uint8_t *pData, uint8_t size)
{
    HAL_I2C_Mem_Write(&hi2c3, EEPROM_ADDR << 1, regAddr, I2C_MEMADD_SIZE_8BIT, pData, size, 1000);
}

/**
 * eeprom map:
 *  0.. 7: Kp (double)
 *  8..15: Kd (double)
 * 16..23: ErrorThreshold (double)
 * 24..25: HomingSpeed (uint16_t)
 * 26..27: MotorX.homeOffset (int16_t)
 * 28..29: MotorY.homeOffset (int16_t)
 * 30..31: MoveTimeoutPeriod (uint16_t)
 */

void ParamsRead(void)
{
    uint8_t readBuffer[32];

    EEPROMRead(0, readBuffer, 32);

    for (int i = 0; i < 8; i++)
    {
        ((uint8_t *)&Kp)[i] = readBuffer[i];
        ((uint8_t *)&Kd)[i] = readBuffer[i + 8];
        ((uint8_t *)&ErrorThreshold)[i] = readBuffer[i + 16];
    }

    for (int i = 0; i < 2; i++)
    {
        ((uint8_t *)&HomingSpeed)[i] = readBuffer[i + 24];
        ((uint8_t *)&MotorX.homeOffset)[i] = readBuffer[i + 2 + 24];
        ((uint8_t *)&MotorY.homeOffset)[i] = readBuffer[i + 4 + 24];
        ((uint8_t *)&MoveTimeoutPeriod)[i] = readBuffer[i + 6 + 24];
    }
}

void ParamsWrite(void)
{
    uint8_t pageBuffer[16];

    for (int i = 0; i < 8; i++)
    {
        pageBuffer[i] = ((uint8_t *)&Kp)[i];
        pageBuffer[i + 8] = ((uint8_t *)&Kd)[i];
    }
    EEPROMWrite(0, pageBuffer, 16);
    HAL_Delay(5);

    for (int i = 0; i < 8; i++)
    {
        pageBuffer[i] = ((uint8_t *)&ErrorThreshold)[i];
    }
    for (int i = 0; i < 2; i++)
    {
        pageBuffer[i + 8] = ((uint8_t *)&HomingSpeed)[i];
        pageBuffer[i + 2 + 8] = ((uint8_t *)&MotorX.homeOffset)[i];
        pageBuffer[i + 4 + 8] = ((uint8_t *)&MotorY.homeOffset)[i];
        pageBuffer[i + 6 + 8] = ((uint8_t *)&MoveTimeoutPeriod)[i];
    }
    EEPROMWrite(16, pageBuffer, 16);
}

void MotorSetSpeed(AxisTypeDef axis, int32_t speed)
{
    uint16_t pulseA, pulseB;

    if (speed >= 0)
    {
        pulseA = 0;
        pulseB = speed;
    }
    else
    {
        pulseB = 0;
        pulseA = -speed;
    }

    switch (axis)
    {
    case X:
        __HAL_TIM_SET_COMPARE(&HTIM_MOT, TIM_CHANNEL_MOT_XA, pulseA);
        __HAL_TIM_SET_COMPARE(&HTIM_MOT, TIM_CHANNEL_MOT_XB, pulseB);
        break;
    case Y:
        __HAL_TIM_SET_COMPARE(&HTIM_MOT, TIM_CHANNEL_MOT_YA, pulseA);
        __HAL_TIM_SET_COMPARE(&HTIM_MOT, TIM_CHANNEL_MOT_YB, pulseB);
        break;
    }
}

bool Home(void)
{
    LaserTurn(OFF);

    // stop control loop
    ControlOn = FALSE;

    // stop motors
    MotorSetSpeed(X, 0);
    MotorSetSpeed(Y, 0);
    HAL_Delay(500);

    int16_t encoder, start;

    // check if x motor is spinning
    start = MotorX.position;
    MotorSetSpeed(X, -HomingSpeed);
    HAL_Delay(100);
    if (MotorX.position == start)
    {
        MotorSetSpeed(X, 0);
        return FALSE; // motor failed to spin
    }

    // home x axis
    MotorSetSpeed(X, HomingSpeed);
    StartTimeout(5000);
    while (1)
    {
        encoder = MotorX.position;
        HAL_Delay(100);
        if (TimedOut)
        {
            MotorSetSpeed(X, 0);
            return FALSE; // timed out
        }
        else if (encoder == MotorX.position)
        {
            MotorSetSpeed(X, 0);
            break; // motor has reached home position
        }
    }
    HAL_Delay(500);
    __HAL_TIM_SET_COUNTER(&HTIM_ENCX, ENCODER_CPR / 8 - MotorX.homeOffset);

    // check if y motor is spinning
    start = MotorY.position;
    MotorSetSpeed(Y, HomingSpeed);
    HAL_Delay(100);
    if (MotorY.position == start)
    {
        MotorSetSpeed(Y, 0);
        return FALSE; // motor failed to spin
    }

    // home y axis
    MotorSetSpeed(Y, -HomingSpeed);
    StartTimeout(5000);
    while (1)
    {
        encoder = MotorY.position;
        HAL_Delay(100);
        if (TimedOut)
        {
            MotorSetSpeed(Y, 0);
            return FALSE; // timed out
        }
        else if (encoder == MotorY.position)
        {
            MotorSetSpeed(Y, 0);
            break; // motor has reached home position
        }
    }
    HAL_Delay(500);
    __HAL_TIM_SET_COUNTER(&HTIM_ENCY, -(ENCODER_CPR / 8) - MotorY.homeOffset);

    // reset structs
    MotorX.position = 0;
    MotorX.lastPosition = 0;
    MotorX.positionBias = 0;
    MotorX.target = 0;
    MotorX.lastError = 0;
    MotorY.position = 0;
    MotorY.lastPosition = 0;
    MotorY.positionBias = 0;
    MotorY.target = 0;
    MotorY.lastError = 0;

    ControlOn = TRUE; // restart control loop
    HAL_Delay(500);
    LaserTurn(ON);

    return TRUE;
}

void Step(void)
{
    LaserTurn(OFF);

    SerialPrint("Kp: %lf Kd: %lf\n", Kp, Kd);

    LogTime = 0;
    MotorX.target = -ENCODER_RANGE;
    MotorY.target = -ENCODER_RANGE;
    HAL_Delay(1000);

    // start logging
    __HAL_TIM_SET_COUNTER(&HTIM_LOG, 0);
    HAL_TIM_Base_Start_IT(&HTIM_LOG);

    HAL_Delay(500);
    MotorX.target = ENCODER_RANGE;
    MotorY.target = ENCODER_RANGE;
    HAL_Delay(1000);
    MotorX.target = -ENCODER_RANGE;
    MotorY.target = -ENCODER_RANGE;
    HAL_Delay(1000);

    // stop logging
    HAL_TIM_Base_Stop_IT(&HTIM_LOG);
}

void LaserTurn(LaserStateTypeDef state)
{
    if (state == ON)
    {
        HAL_GPIO_WritePin(LASER_GPIO_Port, LASER_Pin, GPIO_PIN_RESET);
    }
    else if (state == OFF)
    {
        HAL_GPIO_WritePin(LASER_GPIO_Port, LASER_Pin, GPIO_PIN_SET);
    }
}

void SetPos(double x, double y)
{
    // calculate required encoder values
    MotorX.target = (int16_t)(atan(x * INV_NORM_DIST) * STEPS_PER_RAD);
    MotorY.target = (int16_t)(atan(y * INV_NORM_DIST) * STEPS_PER_RAD);

    int16_t xEncoder, yEncoder;
    double xError, yError;

    // wait for error to be within threshold or timeout
    do
    {
        xEncoder = MotorX.position;
        yEncoder = MotorY.position;

        LaserPos.x = tan(xEncoder * RAD_PER_STEPS) * NORM_DIST;
        LaserPos.y = tan(yEncoder * RAD_PER_STEPS) * NORM_DIST;

        xError = x - LaserPos.x;
        yError = y - LaserPos.y;

        xError = fabs(xError);
        yError = fabs(yError);
    } while (!CommandReady && !TimedOut && (xError > ErrorThreshold || yError > ErrorThreshold));
}

void LineTo(double x, double y, uint16_t steps)
{
    LaserPosStruct startPos = LaserPos;
    double xDistance = x - startPos.x;
    double yDistance = y - startPos.y;

    // start timeout timer
    StartTimeout(MoveTimeoutPeriod);

    // interpolate between start and end position
    for (int i = 1; i <= steps && !TimedOut && !CommandReady; i++)
    {
        SetPos(startPos.x + (double)i / steps * xDistance, startPos.y + (double)i / steps * yDistance);
    }
}

void StartTimeout(uint16_t period)
{
    TimedOut = FALSE;
    __HAL_TIM_SET_COUNTER(&HTIM_TIMEOUT, 0);
    __HAL_TIM_SET_AUTORELOAD(&HTIM_TIMEOUT, period * 10 - 1);
    __HAL_TIM_CLEAR_IT(&HTIM_TIMEOUT, TIM_IT_UPDATE);
    HAL_TIM_Base_Start_IT(&HTIM_TIMEOUT);
}

/* USER CODE END 4 */

void Error_Handler(void)
{
    __disable_irq();
    while (1)
    {
    }
}
